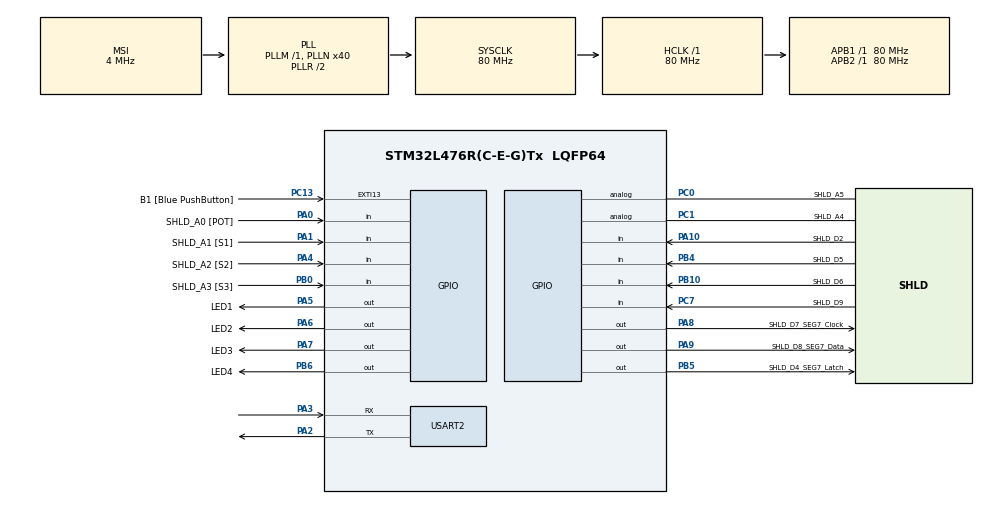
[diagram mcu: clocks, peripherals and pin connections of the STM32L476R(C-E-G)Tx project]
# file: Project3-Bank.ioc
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FREERTOS.Mutexes01=customerQueueMutex,Dynamic,NULL
FREERTOS.Tasks01=defaultTask,24,180,StartDefaultTask,Default,NULL,Dynamic,NULL,NULL;TellerTask01,24,128,StartTellerTask01,Default,NULL,Dynamic,NULL,NULL;TellerTask02,24,128,StartTellerTask02,Default,NULL,Dynamic,NULL,NULL;TellerTask03,24,128,StartTellerTask03,Default,NULL,Dynamic,NULL,NULL
FREERTOS.configUSE_IDLE_HOOK=1
Mcu.Family=STM32L4
Mcu.Name=STM32L476R(C-E-G)Tx
Mcu.Package=LQFP64
NVIC.PriorityGroup=NVIC_PRIORITYGROUP_4
NVIC.TIM2_IRQn=true\:5\:0\:false\:false\:true\:true\:true\:true\:true
PA0.GPIO_Label=SHLD_A0 [POT]
PA0.Signal=GPIO_Input
PA1.GPIO_Label=SHLD_A1 [S1]
PA1.GPIO_PuPd=GPIO_PULLUP
PA1.Signal=GPIO_Input
PA10.GPIO_Label=SHLD_D2
PA10.Signal=GPIO_Input
PA13\ (JTMS-SWDIO).GPIO_Label=TMS
PA13\ (JTMS-SWDIO).Mode=Serial_Wire
PA13\ (JTMS-SWDIO).Signal=SYS_JTMS-SWDIO
PA14\ (JTCK-SWCLK).GPIO_Label=TCK
PA14\ (JTCK-SWCLK).Mode=Serial_Wire
PA14\ (JTCK-SWCLK).Signal=SYS_JTCK-SWCLK
PA2.Mode=Asynchronous
PA2.Signal=USART2_TX
PA3.Mode=Asynchronous
PA3.Signal=USART2_RX
PA4.GPIO_Label=SHLD_A2 [S2]
PA4.GPIO_PuPd=GPIO_PULLUP
PA4.Signal=GPIO_Input
PA5.GPIO_Label=LED1
PA5.PinState=GPIO_PIN_SET
PA5.Signal=GPIO_Output
PA6.GPIO_Label=LED2
PA6.PinState=GPIO_PIN_SET
PA6.Signal=GPIO_Output
PA7.GPIO_Label=LED3
PA7.PinState=GPIO_PIN_SET
PA7.Signal=GPIO_Output
PA8.GPIO_Label=SHLD_D7_SEG7_Clock
PA8.PinState=GPIO_PIN_SET
PA8.Signal=GPIO_Output
PA9.GPIO_Label=SHLD_D8_SEG7_Data
PA9.GPIO_ModeDefaultOutputPP=GPIO_MODE_OUTPUT_PP
PA9.GPIO_Speed=GPIO_SPEED_FREQ_MEDIUM
PA9.PinState=GPIO_PIN_SET
PA9.Signal=GPIO_Output
PB0.GPIO_Label=SHLD_A3 [S3]
PB0.GPIO_PuPd=GPIO_PULLUP
PB0.Signal=GPIO_Input
PB10.GPIO_Label=SHLD_D6
PB10.Signal=GPIO_Input
PB3\ (JTDO-TRACESWO).Signal=SYS_JTDO-SWO
PB4\ (NJTRST).GPIO_Label=SHLD_D5
PB4\ (NJTRST).Signal=GPIO_Input
PB5.GPIO_Label=SHLD_D4_SEG7_Latch
PB5.GPIO_Speed=GPIO_SPEED_FREQ_HIGH
PB5.PinState=GPIO_PIN_SET
PB5.Signal=GPIO_Output
PB6.GPIO_FM6=__NULL
PB6.GPIO_Label=LED4
PB6.PinState=GPIO_PIN_SET
PB6.Signal=GPIO_Output
PB8.GPIO_Label=SHLD_D15
PB8.Signal=I2C1_SCL
PB9.GPIO_Label=SHLD_D14
PB9.Signal=I2C1_SDA
PC0.GPIO_Label=SHLD_A5
PC0.Signal=GPIO_Analog
PC1.GPIO_Label=SHLD_A4
PC1.Signal=SharedAnalog_PC1
PC13.GPIO_Label=B1 [Blue PushButton]
PC13.GPIO_ModeDefaultEXTI=GPIO_MODE_IT_FALLING
PC13.GPIO_PuPd=GPIO_NOPULL
PC13.Signal=GPXTI13
PC14-OSC32_IN\ (PC14).Mode=LSE-External-Oscillator
PC14-OSC32_IN\ (PC14).Signal=RCC_OSC32_IN
PC15-OSC32_OUT\ (PC15).Mode=LSE-External-Oscillator
PC15-OSC32_OUT\ (PC15).Signal=RCC_OSC32_OUT
PC7.GPIO_Label=SHLD_D9
PC7.Signal=GPIO_Input
PH0-OSC_IN\ (PH0).Signal=RCC_OSC_IN
PH1-OSC_OUT\ (PH1).Signal=RCC_OSC_OUT
ProjectManager.HeapSize=0x200
ProjectManager.StackSize=0x400
ProjectManager.TargetToolchain=STM32CubeIDE
RCC.ADCFreq_Value=32000000
RCC.AHBFreq_Value=80000000
RCC.APB1Freq_Value=80000000
RCC.APB1TimFreq_Value=80000000
RCC.APB2Freq_Value=80000000
RCC.APB2TimFreq_Value=80000000
RCC.CortexFreq_Value=80000000
RCC.HCLKFreq_Value=80000000
RCC.HSE_VALUE=8000000
RCC.HSI_VALUE=16000000
RCC.MSI_VALUE=4000000
RCC.PLLN=40
RCC.PLLSAI1N=16
RCC.PREFETCH_ENABLE=1
RCC.SYSCLKFreq_VALUE=80000000
RCC.SYSCLKSource=RCC_SYSCLKSOURCE_PLLCLK
RCC.USBFreq_Value=32000000
RCC.VCOOutputFreq_Value=160000000
SH.SharedAnalog_PC1.0=GPIO_Analog
SH.SharedAnalog_PC1.1=ADC1_IN2
TIM2.Prescaler=79
USART2.VirtualMode-Asynchronous=VM_ASYNC
VP_FREERTOS_VS_CMSIS_V2.Mode=CMSIS_V2
VP_RNG_VS_RNG.Mode=RNG_Activate
VP_TIM2_VS_ClockSourceINT.Mode=Internal
board=NUCLEO-L476RG

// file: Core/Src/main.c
/* USER CODE BEGIN Header */
/**
  ******************************************************************************
  * @file           : main.c
  * @brief          : Main program body
  ******************************************************************************
  * @attention
  *
  * <h2><center>&copy; Copyright (c) 2023 STMicroelectronics.
  * All rights reserved.</center></h2>
  *
  * This software component is licensed by ST under BSD 3-Clause license,
  * the "License"; You may not use this file except in compliance with the
  * License. You may obtain a copy of the License at:
  *                        opensource.org/licenses/BSD-3-Clause
  *
  ******************************************************************************
  */
/* USER CODE END Header */
#include "main.h"
#include "cmsis_os.h"

/* USER CODE BEGIN Includes */
#include "MFS.h"
#include "customer.h"
#include "teller.h"

/* USER CODE END Includes */

RNG_HandleTypeDef hrng;

TIM_HandleTypeDef htim2;

UART_HandleTypeDef huart2;

/* Definitions for defaultTask */
osThreadId_t defaultTaskHandle;
const osThreadAttr_t defaultTask_attributes = {
  .name = "defaultTask",
  .stack_size = 180 * 4,
  .priority = (osPriority_t) osPriorityNormal,
};
/* Definitions for TellerTask01 */
osThreadId_t TellerTask01Handle;
const osThreadAttr_t TellerTask01_attributes = {
  .name = "TellerTask01",
  .stack_size = 128 * 4,
  .priority = (osPriority_t) osPriorityNormal,
};
/* Definitions for TellerTask02 */
osThreadId_t TellerTask02Handle;
const osThreadAttr_t TellerTask02_attributes = {
  .name = "TellerTask02",
  .stack_size = 128 * 4,
  .priority = (osPriority_t) osPriorityNormal,
};
/* Definitions for TellerTask03 */
osThreadId_t TellerTask03Handle;
const osThreadAttr_t TellerTask03_attributes = {
  .name = "TellerTask03",
  .stack_size = 128 * 4,
  .priority = (osPriority_t) osPriorityNormal,
};
/* Definitions for customerQueueMutex */
osMutexId_t customerQueueMutexHandle;
const osMutexAttr_t customerQueueMutex_attributes = {
  .name = "customerQueueMutex"
};
/* USER CODE BEGIN PV */
/*Segment byte maps for numbers 0 to 9 */
const char SEGMENT_MAP[] = {0xC0,0xF9,0xA4,0xB0,0x99,0x92,0x82,0xF8,0X80,0X90};

/* Byte maps to select digit 1 to 4 */
const char SEGMENT_SELECT[] = {0xF1,0xF2,0xF4,0xF8};

SemaphoreHandle_t teller_break01 = NULL;
SemaphoreHandle_t teller_break02 = NULL;
SemaphoreHandle_t teller_break03 = NULL;

int bank_closed = 0;

/* USER CODE END PV */

void SystemClock_Config(void);
static void MX_GPIO_Init(void);
static void MX_TIM2_Init(void);
static void MX_USART2_UART_Init(void);
static void MX_RNG_Init(void);
void StartDefaultTask(void *argument);
void StartTellerTask01(void *argument);
void StartTellerTask02(void *argument);
void StartTellerTask03(void *argument);

int main(void)
{

  /* MCU Configuration--------------------------------------------------------*/

  /* Reset of all peripherals, Initializes the Flash interface and the Systick. */
  HAL_Init();

  /* Configure the system clock */
  SystemClock_Config();

  /* Initialize all configured peripherals */
  MX_GPIO_Init();
  MX_TIM2_Init();
  MX_USART2_UART_Init();
  MX_RNG_Init();
  /* USER CODE BEGIN 2 */
  teller_break01 = xSemaphoreCreateMutex();
  teller_break02 = xSemaphoreCreateMutex();
  teller_break03 = xSemaphoreCreateMutex();

  HAL_TIM_Base_Start(&htim2);

  /* USER CODE END 2 */

  /* Init scheduler */
  osKernelInitialize();
  /* Create the mutex(es) */
  /* creation of customerQueueMutex */
  customerQueueMutexHandle = osMutexNew(&customerQueueMutex_attributes);

  /* Create the thread(s) */
  /* creation of defaultTask */
  defaultTaskHandle = osThreadNew(StartDefaultTask, NULL, &defaultTask_attributes);

  /* creation of TellerTask01 */
  TellerTask01Handle = osThreadNew(StartTellerTask01, NULL, &TellerTask01_attributes);

  /* creation of TellerTask02 */
  TellerTask02Handle = osThreadNew(StartTellerTask02, NULL, &TellerTask02_attributes);

  /* creation of TellerTask03 */
  TellerTask03Handle = osThreadNew(StartTellerTask03, NULL, &TellerTask03_attributes);

  /* USER CODE BEGIN RTOS_THREADS */
  //initialize queue thread
  customer_queue_init();
  teller_init(NUM_TELLERS);
  /* add threads, ... */
  /* USER CODE END RTOS_THREADS */

  /* Start scheduler */
  osKernelStart();

  /* We should never get here as control is now taken by the scheduler */
  /* Infinite loop */
  while (1)
  {

  }
}

void SystemClock_Config(void)
{
  RCC_OscInitTypeDef RCC_OscInitStruct = {0};
  RCC_ClkInitTypeDef RCC_ClkInitStruct = {0};

  /** Configure the main internal regulator output voltage
  */
  if (HAL_PWREx_ControlVoltageScaling(PWR_REGULATOR_VOLTAGE_SCALE1) != HAL_OK)
  {
    Error_Handler();
  }
  /** Configure LSE Drive Capability
  */
  HAL_PWR_EnableBkUpAccess();
  __HAL_RCC_LSEDRIVE_CONFIG(RCC_LSEDRIVE_LOW);
  /** Initializes the RCC Oscillators according to the specified parameters
  * in the RCC_OscInitTypeDef structure.
  */
  RCC_OscInitStruct.OscillatorType = RCC_OSCILLATORTYPE_LSE|RCC_OSCILLATORTYPE_MSI;
  RCC_OscInitStruct.LSEState = RCC_LSE_ON;
  RCC_OscInitStruct.MSIState = RCC_MSI_ON;
  RCC_OscInitStruct.MSICalibrationValue = 0;
  RCC_OscInitStruct.MSIClockRange = RCC_MSIRANGE_6;
  RCC_OscInitStruct.PLL.PLLState = RCC_PLL_ON;
  RCC_OscInitStruct.PLL.PLLSource = RCC_PLLSOURCE_MSI;
  RCC_OscInitStruct.PLL.PLLM = 1;
  RCC_OscInitStruct.PLL.PLLN = 40;
  RCC_OscInitStruct.PLL.PLLP = RCC_PLLP_DIV7;
  RCC_OscInitStruct.PLL.PLLQ = RCC_PLLQ_DIV2;
  RCC_OscInitStruct.PLL.PLLR = RCC_PLLR_DIV2;
  if (HAL_RCC_OscConfig(&RCC_OscInitStruct) != HAL_OK)
  {
    Error_Handler();
  }
  /** Initializes the CPU, AHB and APB buses clocks
  */
  RCC_ClkInitStruct.ClockType = RCC_CLOCKTYPE_HCLK|RCC_CLOCKTYPE_SYSCLK
                              |RCC_CLOCKTYPE_PCLK1|RCC_CLOCKTYPE_PCLK2;
  RCC_ClkInitStruct.SYSCLKSource = RCC_SYSCLKSOURCE_PLLCLK;
  RCC_ClkInitStruct.AHBCLKDivider = RCC_SYSCLK_DIV1;
  RCC_ClkInitStruct.APB1CLKDivider = RCC_HCLK_DIV1;
  RCC_ClkInitStruct.APB2CLKDivider = RCC_HCLK_DIV1;

  if (HAL_RCC_ClockConfig(&RCC_ClkInitStruct, FLASH_LATENCY_4) != HAL_OK)
  {
    Error_Handler();
  }
  /** Enable MSI Auto calibration
  */
  HAL_RCCEx_EnableMSIPLLMode();
}

static void MX_RNG_Init(void)
{

  hrng.Instance = RNG;
  if (HAL_RNG_Init(&hrng) != HAL_OK)
  {
    Error_Handler();
  }

}

static void MX_TIM2_Init(void)
{

  TIM_ClockConfigTypeDef sClockSourceConfig = {0};
  TIM_MasterConfigTypeDef sMasterConfig = {0};

  htim2.Instance = TIM2;
  htim2.Init.Prescaler = 79;
  htim2.Init.CounterMode = TIM_COUNTERMODE_UP;
  htim2.Init.Period = 4294967295;
  htim2.Init.ClockDivision = TIM_CLOCKDIVISION_DIV1;
  htim2.Init.AutoReloadPreload = TIM_AUTORELOAD_PRELOAD_DISABLE;
  if (HAL_TIM_Base_Init(&htim2) != HAL_OK)
  {
    Error_Handler();
  }
  sClockSourceConfig.ClockSource = TIM_CLOCKSOURCE_INTERNAL;
  if (HAL_TIM_ConfigClockSource(&htim2, &sClockSourceConfig) != HAL_OK)
  {
    Error_Handler();
  }
  sMasterConfig.MasterOutputTrigger = TIM_TRGO_RESET;
  sMasterConfig.MasterSlaveMode = TIM_MASTERSLAVEMODE_DISABLE;
  if (HAL_TIMEx_MasterConfigSynchronization(&htim2, &sMasterConfig) != HAL_OK)
  {
    Error_Handler();
  }

}

static void MX_USART2_UART_Init(void)
{

  huart2.Instance = USART2;
  huart2.Init.BaudRate = 115200;
  huart2.Init.WordLength = UART_WORDLENGTH_8B;
  huart2.Init.StopBits = UART_STOPBITS_1;
  huart2.Init.Parity = UART_PARITY_NONE;
  huart2.Init.Mode = UART_MODE_TX_RX;
  huart2.Init.HwFlowCtl = UART_HWCONTROL_NONE;
  huart2.Init.OverSampling = UART_OVERSAMPLING_16;
  huart2.Init.OneBitSampling = UART_ONE_BIT_SAMPLE_DISABLE;
  huart2.AdvancedInit.AdvFeatureInit = UART_ADVFEATURE_NO_INIT;
  if (HAL_UART_Init(&huart2) != HAL_OK)
  {
    Error_Handler();
  }

}

static void MX_GPIO_Init(void)
{
  GPIO_InitTypeDef GPIO_InitStruct = {0};

  /* GPIO Ports Clock Enable */
  __HAL_RCC_GPIOC_CLK_ENABLE();
  __HAL_RCC_GPIOH_CLK_ENABLE();
  __HAL_RCC_GPIOA_CLK_ENABLE();
  __HAL_RCC_GPIOB_CLK_ENABLE();

  /*Configure GPIO pin Output Level */
  HAL_GPIO_WritePin(GPIOA, LED1_Pin|LED2_Pin|LED3_Pin|SHLD_D7_SEG7_Clock_Pin
                          |SHLD_D8_SEG7_Data_Pin, GPIO_PIN_SET);

  /*Configure GPIO pin Output Level */
  HAL_GPIO_WritePin(GPIOB, SHLD_D4_SEG7_Latch_Pin|LED4_Pin, GPIO_PIN_SET);

  /*Configure GPIO pin : B1_Pin */
  GPIO_InitStruct.Pin = B1_Pin;
  GPIO_InitStruct.Mode = GPIO_MODE_IT_FALLING;
  GPIO_InitStruct.Pull = GPIO_NOPULL;
  HAL_GPIO_Init(B1_GPIO_Port, &GPIO_InitStruct);

  /*Configure GPIO pins : SHLD_A5_Pin SHLD_A4_Pin */
  GPIO_InitStruct.Pin = SHLD_A5_Pin|SHLD_A4_Pin;
  GPIO_InitStruct.Mode = GPIO_MODE_ANALOG;
  GPIO_InitStruct.Pull = GPIO_NOPULL;
  HAL_GPIO_Init(GPIOC, &GPIO_InitStruct);

  /*Configure GPIO pins : SHLD_A0_Pin SHLD_D2_Pin */
  GPIO_InitStruct.Pin = SHLD_A0_Pin|SHLD_D2_Pin;
  GPIO_InitStruct.Mode = GPIO_MODE_INPUT;
  GPIO_InitStruct.Pull = GPIO_NOPULL;
  HAL_GPIO_Init(GPIOA, &GPIO_InitStruct);

  /*Configure GPIO pins : SHLD_A1_Pin SHLD_A2_Pin */
  GPIO_InitStruct.Pin = SHLD_A1_Pin|SHLD_A2_Pin;
  GPIO_InitStruct.Mode = GPIO_MODE_INPUT;
  GPIO_InitStruct.Pull = GPIO_PULLUP;
  HAL_GPIO_Init(GPIOA, &GPIO_InitStruct);

  /*Configure GPIO pins : LED1_Pin LED2_Pin LED3_Pin SHLD_D7_SEG7_Clock_Pin */
  GPIO_InitStruct.Pin = LED1_Pin|LED2_Pin|LED3_Pin|SHLD_D7_SEG7_Clock_Pin;
  GPIO_InitStruct.Mode = GPIO_MODE_OUTPUT_PP;
  GPIO_InitStruct.Pull = GPIO_NOPULL;
  GPIO_InitStruct.Speed = GPIO_SPEED_FREQ_LOW;
  HAL_GPIO_Init(GPIOA, &GPIO_InitStruct);

  /*Configure GPIO pin : SHLD_A3_Pin */
  GPIO_InitStruct.Pin = SHLD_A3_Pin;
  GPIO_InitStruct.Mode = GPIO_MODE_INPUT;
  GPIO_InitStruct.Pull = GPIO_PULLUP;
  HAL_GPIO_Init(SHLD_A3_GPIO_Port, &GPIO_InitStruct);

  /*Configure GPIO pins : SHLD_D6_Pin SHLD_D5_Pin */
  GPIO_InitStruct.Pin = SHLD_D6_Pin|SHLD_D5_Pin;
  GPIO_InitStruct.Mode = GPIO_MODE_INPUT;
  GPIO_InitStruct.Pull = GPIO_NOPULL;
  HAL_GPIO_Init(GPIOB, &GPIO_InitStruct);

  /*Configure GPIO pin : SHLD_D9_Pin */
  GPIO_InitStruct.Pin = SHLD_D9_Pin;
  GPIO_InitStruct.Mode = GPIO_MODE_INPUT;
  GPIO_InitStruct.Pull = GPIO_NOPULL;
  HAL_GPIO_Init(SHLD_D9_GPIO_Port, &GPIO_InitStruct);

  /*Configure GPIO pin : SHLD_D8_SEG7_Data_Pin */
  GPIO_InitStruct.Pin = SHLD_D8_SEG7_Data_Pin;
  GPIO_InitStruct.Mode = GPIO_MODE_OUTPUT_PP;
  GPIO_InitStruct.Pull = GPIO_NOPULL;
  GPIO_InitStruct.Speed = GPIO_SPEED_FREQ_MEDIUM;
  HAL_GPIO_Init(SHLD_D8_SEG7_Data_GPIO_Port, &GPIO_InitStruct);

  /*Configure GPIO pin : SHLD_D4_SEG7_Latch_Pin */
  GPIO_InitStruct.Pin = SHLD_D4_SEG7_Latch_Pin;
  GPIO_InitStruct.Mode = GPIO_MODE_OUTPUT_PP;
  GPIO_InitStruct.Pull = GPIO_NOPULL;
  GPIO_InitStruct.Speed = GPIO_SPEED_FREQ_HIGH;
  HAL_GPIO_Init(SHLD_D4_SEG7_Latch_GPIO_Port, &GPIO_InitStruct);

  /*Configure GPIO pin : LED4_Pin */
  GPIO_InitStruct.Pin = LED4_Pin;
  GPIO_InitStruct.Mode = GPIO_MODE_OUTPUT_PP;
  GPIO_InitStruct.Pull = GPIO_NOPULL;
  GPIO_InitStruct.Speed = GPIO_SPEED_FREQ_LOW;
  HAL_GPIO_Init(LED4_GPIO_Port, &GPIO_InitStruct);

  /*Configure GPIO pins : SHLD_D15_Pin SHLD_D14_Pin */
  GPIO_InitStruct.Pin = SHLD_D15_Pin|SHLD_D14_Pin;
  GPIO_InitStruct.Mode = GPIO_MODE_AF_OD;
  GPIO_InitStruct.Pull = GPIO_NOPULL;
  GPIO_InitStruct.Speed = GPIO_SPEED_FREQ_VERY_HIGH;
  GPIO_InitStruct.Alternate = GPIO_AF4_I2C1;
  HAL_GPIO_Init(GPIOB, &GPIO_InitStruct);

}

/* USER CODE BEGIN 4 */
/**
 * Gererates a distance number between the max and min intergers
 */
int random_distance(int min, int max){
	uint32_t rnum = 0;
	HAL_RNG_GenerateRandomNumber(&hrng, &rnum);
	return min + (max-min)*(double)(rnum/4294967295.0);
}

/* USER CODE END 4 */

void StartDefaultTask(void *argument)
{
  /* USER CODE BEGIN 5 */
	osThreadId id;                                           // id for the currently running thread
	id = osThreadGetId ();
	char buffer[128];
	int len;
	//int i = 1000;
	//TickType_t xDelay;
	len = sprintf(buffer, "\r\nBANK IS OPEN.\r\n");
	HAL_UART_Transmit(&huart2, (uint8_t *)buffer, len, ~0);

  /* Infinite loop */
  for(;;)
  {
	  int sim_time_sec = US_TO_SIM_SEC(htim2.Instance->CNT);
	  if (!bank_closed && (sim_time_sec > BANK_HOURS*60*60)){
		  //close the bank
		  bank_closed = 1;
		  //Delete Customer task so no more customers are added
		  vTaskDelete(customer_queue.handle);

		  len = sprintf(buffer, "\r\nBank is Closed!\r\n");
		  HAL_UART_Transmit(&huart2, (uint8_t *) buffer, len, ~0);
	  }
	  if (bank_closed && customer_queue.len == 0 && teller_end(NUM_TELLERS)){
		  len = sprintf(buffer, "\r\nFINAL METRICS:");
		  HAL_UART_Transmit(&huart2, (uint8_t *)buffer, len, ~0);
		  HAL_Delay(10);
		  len = sprintf(buffer, "\r\n\tTotal Customers Served: %d", customer_queue.num_served);
		  HAL_UART_Transmit(&huart2, (uint8_t *)buffer, len, ~0);
		  HAL_Delay(10);
		  len = sprintf(buffer, "\r\n\tCustomers Served by Teller: T1: %d, T2: %d, T3: %d", tellers[0].customers_served,tellers[1].customers_served, tellers[2].customers_served);
		  HAL_UART_Transmit(&huart2, (uint8_t *)buffer, len, ~0);
		  HAL_Delay(10);
		  len = sprintf(buffer, "\r\n\tAverage Time Customers Spent in Queue: %.2lfsec", (double)customer_queue.total_wait_time/(double)customer_queue.num_served);
		  HAL_UART_Transmit(&huart2, (uint8_t *)buffer, len, ~0);
		  HAL_Delay(10);
		  len = sprintf(buffer, "\r\n\tAverage Time Customers Spent with Tellers: T1:%.2lfsec, T2:%.2lfsec, T3:%.2lfsec", (double)tellers[0].total_transaction_time/(double)tellers[0].customers_served,
				  (double)tellers[1].total_transaction_time/(double)tellers[1].customers_served,
				  (double)tellers[2].total_transaction_time/(double)tellers[2].customers_served);
		  HAL_UART_Transmit(&huart2, (uint8_t *)buffer, len, ~0);
		  HAL_Delay(10);
		  len = sprintf(buffer, "\r\n\tAverage Time Tellers Waited for Customers: T1:%.2lfsec, T2:%.2lfsec, T3:%.2lfsec", (double)tellers[0].total_wait_time/(double)tellers[0].customers_served,
				  (double)tellers[1].total_wait_time/(double)tellers[1].customers_served,
				  (double)tellers[2].total_wait_time/(double)tellers[2].customers_served);
		  HAL_UART_Transmit(&huart2, (uint8_t *)buffer, len, ~0);
		  HAL_Delay(10);
		  len = sprintf(buffer, "\r\n\tNumber of breaks: T1:%d, T2:%d, T3:%d ", tellers[0].num_breaks, tellers[1].num_breaks, tellers[2].num_breaks);
		  HAL_UART_Transmit(&huart2, (uint8_t *)buffer, len, ~0);
		  len = sprintf(buffer, "\r\n\tAverage time for breaks: T1:%.2lfsec, T2:%.2lfsec, T3:%.2lfsec", (double)tellers[0].total_break_time/(double)tellers[0].num_breaks,
				  (double)tellers[1].total_break_time/(double)tellers[1].num_breaks,
				  (double)tellers[2].total_break_time/(double)tellers[2].num_breaks);
		  HAL_UART_Transmit(&huart2, (uint8_t *)buffer, len, ~0);
		  len = sprintf(buffer, "\r\n\tMax break time: T1:%dsec, T2:%dsec, T3:%dsec", tellers[0].max_break_time, tellers[1].max_break_time, tellers[2].max_break_time);
		  HAL_UART_Transmit(&huart2, (uint8_t *)buffer, len, ~0);
		  len = sprintf(buffer, "\r\n\tMin break time: T1:%dsec, T2:%dsec, T3:%dsec", tellers[0].min_break_time, tellers[1].min_break_time, tellers[2].min_break_time);
		  HAL_UART_Transmit(&huart2, (uint8_t *)buffer, len, ~0);

		  len = sprintf(buffer, "\r\n\tMax Customer Wait Time in Queue: %dsec", customer_queue.max_wait_time);
		  HAL_UART_Transmit(&huart2, (uint8_t *)buffer, len, ~0);
		  HAL_Delay(10);
		  len = sprintf(buffer, "\r\n\tMax Teller Wait Time for Customer: T1:%dsec, T2:%dsec, T3:%dsec", tellers[0].max_wait_time, tellers[1].max_wait_time, tellers[2].max_wait_time);
		  HAL_UART_Transmit(&huart2, (uint8_t *)buffer, len, ~0);
		  HAL_Delay(10);
		  len = sprintf(buffer, "\r\n\tMax Teller Transaction Time: T1:%dsec, T2:%dsec, T3:%dsec", tellers[0].max_transaction_time, tellers[1].max_transaction_time, tellers[2].max_transaction_time);
		  HAL_UART_Transmit(&huart2, (uint8_t *)buffer, len, ~0);
		  HAL_Delay(10);
		  len = sprintf(buffer, "\r\n\tMax Customer Queue Depth: %d", customer_queue.max_len);
		  HAL_UART_Transmit(&huart2, (uint8_t *)buffer, len, ~0);
		  HAL_Delay(10);
		  len = sprintf(buffer, "\r\n\tFinal idle count: %ld", app_idle_cnt);
		  HAL_UART_Transmit(&huart2, (uint8_t *)buffer, len, ~0);
		  osThreadTerminate(id);
	  }
	  else {
		  displayNum(customer_queue.len);
		  int hour = sim_time_sec/60/60;
		  int min = sim_time_sec/60 - hour*60;
		  int sec = sim_time_sec - hour*60*60 - min*60;
		  hour += BANK_OPEN;
		  len = sprintf(buffer, "\r\n%02d:%02d:%02d\tWaiting:%d\r\n", hour,min,sec,customer_queue.len);
		  HAL_UART_Transmit(&huart2, (uint8_t *) buffer, len, ~0);
		  //xDelay = (SIM_SEC_TO_US(240)* .001)/portTICK_PERIOD_MS;
		  //osDelay(1);
		  for (int i = 0; i < NUM_TELLERS; i++) {
			  len += sprintf(buffer+len, "\t|T%d,Served:%d,%s|", i + 1, tellers[i].customers_served, get_status_name(tellers[i].status));
		  }
		  HAL_UART_Transmit(&huart2, (uint8_t *)buffer, len, ~0);
	  }

	  //osDelay(((uint32_t)SIM_SEC_TO_US(240)/ 1000) * 1000 / configTICK_RATE_HZ);
	  osDelay(100);
	  //vTaskDelay(2000);
  }
  /* USER CODE END 5 */
}

void StartTellerTask01(void *argument)
{
  /* USER CODE BEGIN StartTellerTask01 */
	osThreadId id;                                           // id for the currently running thread
	id = osThreadGetId ();
	TELLER *t = &tellers[0];

  /* Infinite loop */
	t->wait_start = htim2.Instance->CNT;
  for(;;)
  {
	if (check_btn1()){
		t->status = BREAK;
	}
	else{
		t->status=AVAIL;
		if (t->break_set && htim2.Instance->CNT >= t->next_break){
			uint32_t break_len = RAND_BREAK_LENGTH;
			t->status = BREAK;
			osDelay(SIM_SEC_TO_US(break_len) / 1000);
			t->status = AVAIL;
			t->next_break = htim2.Instance->CNT + SIM_SEC_TO_US(RAND_NEXT_BREAK);
			t->total_break_time += break_len;
			t->num_breaks++;
			if (break_len > t->max_break_time){
				t->max_break_time = break_len;
			}
			if (break_len < t->min_break_time){
				t->min_break_time = break_len;
			}
		}
		else{
			int err = customer_queue_pop();
			if(!err){
				uint32_t wait_time = htim2.Instance->CNT - t->wait_start;
				wait_time = US_TO_SIM_SEC(wait_time);
				t->total_wait_time += wait_time;
				if (wait_time > t->max_wait_time){
					t->max_wait_time = wait_time;
				}
				t->wait_start = 0;
				t->status = BUSY;
				int transaction_time = RAND_TELLER_TIME;
				t->total_transaction_time += transaction_time;
				if (transaction_time > t->max_transaction_time){
					t->max_transaction_time = transaction_time;
				}
				osDelay(SIM_SEC_TO_US(transaction_time)/1000);
				t->wait_start = htim2.Instance->CNT;
				t->customers_served++;
				t->status = AVAIL;
				if (!t->break_set){
					t->next_break = htim2.Instance->CNT + SIM_SEC_TO_US(RAND_NEXT_BREAK);
					t->break_set = 1;
				}
			}
		}

	}
	int sim_time_sec = US_TO_SIM_SEC(htim2.Instance->CNT);
	if ((sim_time_sec > BANK_HOURS*60*60) && customer_queue.len == 0){
		osThreadTerminate(id);
	}
    osDelay(1);
  }
  /* USER CODE END StartTellerTask01 */
}

void StartTellerTask02(void *argument)
{
  /* USER CODE BEGIN StartTellerTask02 */
	osThreadId id;                                           // id for the currently running thread
	id = osThreadGetId ();
	TELLER *t = &tellers[1];
  /* Infinite loop */
	t->wait_start = htim2.Instance->CNT;
  for(;;)
  {
	  if (check_btn2())
	  {
		t->status = BREAK;
	  }
	  else{
		t->status=AVAIL;
		if (t->break_set && htim2.Instance->CNT >= t->next_break){
			uint32_t break_len = RAND_BREAK_LENGTH;
			t->status = BREAK;
			osDelay(SIM_SEC_TO_US(break_len) / 1000);
			t->status = AVAIL;
			t->next_break = htim2.Instance->CNT + SIM_SEC_TO_US(RAND_NEXT_BREAK);
			t->total_break_time += break_len;
			t->num_breaks++;
			if (break_len > t->max_break_time){
				t->max_break_time = break_len;
			}
			if (break_len < t->min_break_time){
				t->min_break_time = break_len;
			}
		}
		else{
			int err = customer_queue_pop();
			if(!err){
				uint32_t wait_time = htim2.Instance->CNT - t->wait_start;
				wait_time = US_TO_SIM_SEC(wait_time);
				t->total_wait_time += wait_time;
				if (wait_time > t->max_wait_time){
					t->max_wait_time = wait_time;
				}
				t->wait_start = 0;
				t->status = BUSY;
				int transaction_time = RAND_TELLER_TIME;
				t->total_transaction_time += transaction_time;
				if (transaction_time > t->max_transaction_time){
					t->max_transaction_time = transaction_time;
				}
				osDelay(SIM_SEC_TO_US(transaction_time)/1000);
				t->wait_start = htim2.Instance->CNT;
				t->customers_served++;
				t->status = AVAIL;
				if (!t->break_set){
					t->next_break = htim2.Instance->CNT + SIM_SEC_TO_US(RAND_NEXT_BREAK);
					t->break_set = 1;
				}
			}
		}

	}
	int sim_time_sec = US_TO_SIM_SEC(htim2.Instance->CNT);
	if ((sim_time_sec > BANK_HOURS*60*60) && customer_queue.len == 0){
		osThreadTerminate(id);
    osDelay(1);
  }
  }
  /* USER CODE END StartTellerTask02 */
}

void StartTellerTask03(void *argument)
{
  /* USER CODE BEGIN StartTellerTask03 */
	osThreadId id;                                           // id for the currently running thread
	id = osThreadGetId ();
	TELLER *t = &tellers[2];
  /* Infinite loop */
	t->wait_start = htim2.Instance->CNT;
  for(;;)
  {
	  if (check_btn3()){
	  		t->status = BREAK;
	  	}
	  	else{
	  		t->status=AVAIL;
	  		if (t->break_set && htim2.Instance->CNT >= t->next_break){
	  			uint32_t break_len = RAND_BREAK_LENGTH;
	  			t->status = BREAK;
	  			osDelay(SIM_SEC_TO_US(break_len) / 1000);
	  			t->status = AVAIL;
	  			t->next_break = htim2.Instance->CNT + SIM_SEC_TO_US(RAND_NEXT_BREAK);
	  			t->total_break_time += break_len;
	  			t->num_breaks++;
	  			if (break_len > t->max_break_time){
	  				t->max_break_time = break_len;
	  			}
	  			if (break_len < t->min_break_time){
	  				t->min_break_time = break_len;
	  			}
	  		}
	  		else{
	  			int err = customer_queue_pop();
	  			if(!err){
	  				uint32_t wait_time = htim2.Instance->CNT - t->wait_start;
	  				wait_time = US_TO_SIM_SEC(wait_time);
	  				t->total_wait_time += wait_time;
	  				if (wait_time > t->max_wait_time){
	  					t->max_wait_time = wait_time;
	  				}
	  				t->wait_start = 0;
	  				t->status = BUSY;
	  				int transaction_time = RAND_TELLER_TIME;
	  				t->total_transaction_time += transaction_time;
	  				if (transaction_time > t->max_transaction_time){
	  					t->max_transaction_time = transaction_time;
	  				}
	  				osDelay(SIM_SEC_TO_US(transaction_time)/1000);
	  				t->wait_start = htim2.Instance->CNT;
	  				t->customers_served++;
	  				t->status = AVAIL;
	  				if (!t->break_set){
	  					t->next_break = htim2.Instance->CNT + SIM_SEC_TO_US(RAND_NEXT_BREAK);
	  					t->break_set = 1;
	  				}
	  			}
	  		}

	  	}
	  	int sim_time_sec = US_TO_SIM_SEC(htim2.Instance->CNT);
	  	if ((sim_time_sec > BANK_HOURS*60*60) && customer_queue.len == 0){
	  		osThreadTerminate(id);
    osDelay(1);
  }
  }
  /* USER CODE END StartTellerTask03 */
}

void Error_Handler(void)
{
  __disable_irq();
  while (1)
  {
  }
}

/************************ (C) COPYRIGHT STMicroelectronics *****END OF FILE****/

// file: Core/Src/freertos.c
/* USER CODE BEGIN Header */
/**
  ******************************************************************************
  * File Name          : freertos.c
  * Description        : Code for freertos applications
  ******************************************************************************
  * @attention
  *
  * <h2><center>&copy; Copyright (c) 2023 STMicroelectronics.
  * All rights reserved.</center></h2>
  *
  * This software component is licensed by ST under Ultimate Liberty license
  * SLA0044, the "License"; You may not use this file except in compliance with
  * the License. You may obtain a copy of the License at:
  *                             www.st.com/SLA0044
  *
  ******************************************************************************
  */
/* USER CODE END Header */

#include "FreeRTOS.h"
#include "task.h"
#include "main.h"

/* USER CODE BEGIN Variables */
uint32_t app_idle_cnt = 0;

/* USER CODE END Variables */

/* Hook prototypes */
void vApplicationIdleHook(void);

/* USER CODE BEGIN 2 */
void vApplicationIdleHook( void )
{
   /* vApplicationIdleHook() will only be called if configUSE_IDLE_HOOK is set
   to 1 in FreeRTOSConfig.h. It will be called on each iteration of the idle
   task. It is essential that code added to this hook function never attempts
   to block in any way (for example, call xQueueReceive() with a block time
   specified, or call vTaskDelay()). If the application makes use of the
   vTaskDelete() API function (as this demo application does) then it is also
   important that vApplicationIdleHook() is permitted to return to its calling
   function, because it is the responsibility of the idle task to clean up
   memory allocated by the kernel to any task that has since been deleted. */
	app_idle_cnt++;
}
/* USER CODE END 2 */

/************************ (C) COPYRIGHT STMicroelectronics *****END OF FILE****/
